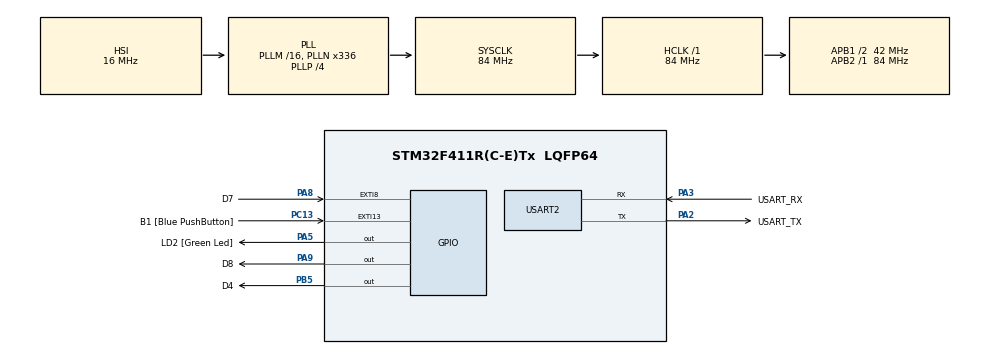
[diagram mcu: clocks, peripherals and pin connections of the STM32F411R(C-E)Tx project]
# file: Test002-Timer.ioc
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Mcu.Family=STM32F4
Mcu.Name=STM32F411R(C-E)Tx
Mcu.Package=LQFP64
NVIC.EXTI15_10_IRQn=true\:0\:0\:false\:false\:true\:true\:true\:true
NVIC.EXTI9_5_IRQn=true\:0\:0\:false\:false\:true\:true\:true\:true
NVIC.PriorityGroup=NVIC_PRIORITYGROUP_0
NVIC.TIM2_IRQn=true\:0\:0\:false\:false\:true\:true\:true\:true
NVIC.TIM3_IRQn=true\:0\:0\:false\:false\:true\:true\:true\:true
PA13.GPIO_Label=TMS
PA13.Mode=Serial_Wire
PA13.Signal=SYS_JTMS-SWDIO
PA14.GPIO_Label=TCK
PA14.Mode=Serial_Wire
PA14.Signal=SYS_JTCK-SWCLK
PA2.GPIO_Label=USART_TX
PA2.Mode=Asynchronous
PA2.Signal=USART2_TX
PA3.GPIO_Label=USART_RX
PA3.Mode=Asynchronous
PA3.Signal=USART2_RX
PA5.GPIO_Label=LD2 [Green Led]
PA5.Signal=GPIO_Output
PA8.GPIO_Label=D7
PA8.Signal=GPXTI8
PA9.GPIO_Label=D8
PA9.Signal=GPIO_Output
PB3.GPIO_Label=SWO
PB3.Signal=SYS_JTDO-SWO
PB5.GPIO_Label=D4
PB5.Signal=GPIO_Output
PC13-ANTI_TAMP.GPIO_Label=B1 [Blue PushButton]
PC13-ANTI_TAMP.GPIO_ModeDefaultEXTI=GPIO_MODE_IT_FALLING
PC13-ANTI_TAMP.Signal=GPXTI13
PC14-OSC32_IN.Mode=LSE-External-Oscillator
PC14-OSC32_IN.Signal=RCC_OSC32_IN
PC15-OSC32_OUT.Mode=LSE-External-Oscillator
PC15-OSC32_OUT.Signal=RCC_OSC32_OUT
PH0\ -\ OSC_IN.Mode=HSE-External-Clock-Source
PH0\ -\ OSC_IN.Signal=RCC_OSC_IN
PH1\ -\ OSC_OUT.Mode=HSE-External-Clock-Source
PH1\ -\ OSC_OUT.Signal=RCC_OSC_OUT
ProjectManager.HeapSize=0x200
ProjectManager.StackSize=0x400
ProjectManager.TargetToolchain=STM32CubeIDE
RCC.48MHZClocksFreq_Value=84000000
RCC.AHBFreq_Value=84000000
RCC.APB1CLKDivider=RCC_HCLK_DIV2
RCC.APB1Freq_Value=42000000
RCC.APB1TimFreq_Value=84000000
RCC.APB2Freq_Value=84000000
RCC.APB2TimFreq_Value=84000000
RCC.CortexFreq_Value=84000000
RCC.FLatency-AdvancedSettings=FLASH_LATENCY_2
RCC.HCLKFreq_Value=84000000
RCC.HSE_VALUE=8000000
RCC.HSI_VALUE=16000000
RCC.PLLN=336
RCC.PLLP=RCC_PLLP_DIV4
RCC.SYSCLKFreq_VALUE=84000000
RCC.SYSCLKSource=RCC_SYSCLKSOURCE_PLLCLK
RCC.VCOOutputFreq_Value=336000000
TIM2.Period=10000-1
TIM2.Prescaler=8400-1
TIM3.Period=10000-1
TIM3.Prescaler=8400-1
USART2.VirtualMode=VM_ASYNC
VP_TIM2_VS_ClockSourceINT.Mode=Internal
VP_TIM3_VS_ClockSourceINT.Mode=Internal
board=NUCLEO-F411RE

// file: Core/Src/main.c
/* USER CODE BEGIN Header */
/**
  ******************************************************************************
  * @file           : main.c
  * @brief          : Main program body
  ******************************************************************************
  * @attention
  *
  * Copyright (c) 2024 STMicroelectronics.
  * All rights reserved.
  *
  * This software is licensed under terms that can be found in the LICENSE file
  * in the root directory of this software component.
  * If no LICENSE file comes with this software, it is provided AS-IS.
  *
  ******************************************************************************
  */
/* USER CODE END Header */
#include "main.h"

TIM_HandleTypeDef htim2;
TIM_HandleTypeDef htim3;

UART_HandleTypeDef huart2;

void SystemClock_Config(void);
static void MX_GPIO_Init(void);
static void MX_USART2_UART_Init(void);
static void MX_TIM3_Init(void);
static void MX_TIM2_Init(void);

/* USER CODE BEGIN 0 */

void HAL_TIM_PeriodElapsedCallback(TIM_HandleTypeDef *htim)
{
	if(htim == &htim3)
	{
		HAL_GPIO_TogglePin(LD2_GPIO_Port,LD2_Pin);
	}
	else if(htim == &htim2)
	{
		HAL_GPIO_TogglePin(D4_GPIO_Port,D4_Pin);
	}
}

void HAL_GPIO_EXTI_Callback(uint16_t GPIO_Pin)//ISR
{
	switch(GPIO_Pin)
	{
		case D7_Pin:
			htim3.Instance->ARR=(htim3.Instance->ARR<1000)?10000:(htim3.Instance->ARR-1000);
			break;
		case D8_Pin:
			htim3.Instance->ARR=(htim3.Instance->ARR>10000)?1000:(htim3.Instance->ARR+1000);
			break;

	}
}

/* USER CODE END 0 */

int main(void)
{

  /* MCU Configuration--------------------------------------------------------*/

  /* Reset of all peripherals, Initializes the Flash interface and the Systick. */
  HAL_Init();

  /* Configure the system clock */
  SystemClock_Config();

  /* Initialize all configured peripherals */
  MX_GPIO_Init();
  MX_USART2_UART_Init();
  MX_TIM3_Init();
  MX_TIM2_Init();
  /* USER CODE BEGIN 2 */
  HAL_TIM_Base_Start_IT(&htim3);
  HAL_TIM_Base_Start_IT(&htim2);
  /* USER CODE END 2 */

  /* Infinite loop */
  while (1)
  {

    /* USER CODE BEGIN 3 */
	  /*
	  for(int i=1;i<20;i++)
	  {
		  htim3.Instance->ARR = i*450;
		  HAL_Delay(500);
	  }
	  */
  }
  /* USER CODE END 3 */
}

void SystemClock_Config(void)
{
  RCC_OscInitTypeDef RCC_OscInitStruct = {0};
  RCC_ClkInitTypeDef RCC_ClkInitStruct = {0};

  /** Configure the main internal regulator output voltage
  */
  __HAL_RCC_PWR_CLK_ENABLE();
  __HAL_PWR_VOLTAGESCALING_CONFIG(PWR_REGULATOR_VOLTAGE_SCALE1);

  /** Initializes the RCC Oscillators according to the specified parameters
  * in the RCC_OscInitTypeDef structure.
  */
  RCC_OscInitStruct.OscillatorType = RCC_OSCILLATORTYPE_HSI;
  RCC_OscInitStruct.HSIState = RCC_HSI_ON;
  RCC_OscInitStruct.HSICalibrationValue = RCC_HSICALIBRATION_DEFAULT;
  RCC_OscInitStruct.PLL.PLLState = RCC_PLL_ON;
  RCC_OscInitStruct.PLL.PLLSource = RCC_PLLSOURCE_HSI;
  RCC_OscInitStruct.PLL.PLLM = 16;
  RCC_OscInitStruct.PLL.PLLN = 336;
  RCC_OscInitStruct.PLL.PLLP = RCC_PLLP_DIV4;
  RCC_OscInitStruct.PLL.PLLQ = 4;
  if (HAL_RCC_OscConfig(&RCC_OscInitStruct) != HAL_OK)
  {
    Error_Handler();
  }

  /** Initializes the CPU, AHB and APB buses clocks
  */
  RCC_ClkInitStruct.ClockType = RCC_CLOCKTYPE_HCLK|RCC_CLOCKTYPE_SYSCLK
                              |RCC_CLOCKTYPE_PCLK1|RCC_CLOCKTYPE_PCLK2;
  RCC_ClkInitStruct.SYSCLKSource = RCC_SYSCLKSOURCE_PLLCLK;
  RCC_ClkInitStruct.AHBCLKDivider = RCC_SYSCLK_DIV1;
  RCC_ClkInitStruct.APB1CLKDivider = RCC_HCLK_DIV2;
  RCC_ClkInitStruct.APB2CLKDivider = RCC_HCLK_DIV1;

  if (HAL_RCC_ClockConfig(&RCC_ClkInitStruct, FLASH_LATENCY_2) != HAL_OK)
  {
    Error_Handler();
  }
}

static void MX_TIM2_Init(void)
{

  TIM_ClockConfigTypeDef sClockSourceConfig = {0};
  TIM_MasterConfigTypeDef sMasterConfig = {0};

  htim2.Instance = TIM2;
  htim2.Init.Prescaler = 8400-1;
  htim2.Init.CounterMode = TIM_COUNTERMODE_UP;
  htim2.Init.Period = 10000-1;
  htim2.Init.ClockDivision = TIM_CLOCKDIVISION_DIV1;
  htim2.Init.AutoReloadPreload = TIM_AUTORELOAD_PRELOAD_DISABLE;
  if (HAL_TIM_Base_Init(&htim2) != HAL_OK)
  {
    Error_Handler();
  }
  sClockSourceConfig.ClockSource = TIM_CLOCKSOURCE_INTERNAL;
  if (HAL_TIM_ConfigClockSource(&htim2, &sClockSourceConfig) != HAL_OK)
  {
    Error_Handler();
  }
  sMasterConfig.MasterOutputTrigger = TIM_TRGO_RESET;
  sMasterConfig.MasterSlaveMode = TIM_MASTERSLAVEMODE_DISABLE;
  if (HAL_TIMEx_MasterConfigSynchronization(&htim2, &sMasterConfig) != HAL_OK)
  {
    Error_Handler();
  }

}

static void MX_TIM3_Init(void)
{

  TIM_ClockConfigTypeDef sClockSourceConfig = {0};
  TIM_MasterConfigTypeDef sMasterConfig = {0};

  htim3.Instance = TIM3;
  htim3.Init.Prescaler = 8400-1;
  htim3.Init.CounterMode = TIM_COUNTERMODE_UP;
  htim3.Init.Period = 5000-1;
  htim3.Init.ClockDivision = TIM_CLOCKDIVISION_DIV1;
  htim3.Init.AutoReloadPreload = TIM_AUTORELOAD_PRELOAD_DISABLE;
  if (HAL_TIM_Base_Init(&htim3) != HAL_OK)
  {
    Error_Handler();
  }
  sClockSourceConfig.ClockSource = TIM_CLOCKSOURCE_INTERNAL;
  if (HAL_TIM_ConfigClockSource(&htim3, &sClockSourceConfig) != HAL_OK)
  {
    Error_Handler();
  }
  sMasterConfig.MasterOutputTrigger = TIM_TRGO_RESET;
  sMasterConfig.MasterSlaveMode = TIM_MASTERSLAVEMODE_DISABLE;
  if (HAL_TIMEx_MasterConfigSynchronization(&htim3, &sMasterConfig) != HAL_OK)
  {
    Error_Handler();
  }

}

static void MX_USART2_UART_Init(void)
{

  huart2.Instance = USART2;
  huart2.Init.BaudRate = 115200;
  huart2.Init.WordLength = UART_WORDLENGTH_8B;
  huart2.Init.StopBits = UART_STOPBITS_1;
  huart2.Init.Parity = UART_PARITY_NONE;
  huart2.Init.Mode = UART_MODE_TX_RX;
  huart2.Init.HwFlowCtl = UART_HWCONTROL_NONE;
  huart2.Init.OverSampling = UART_OVERSAMPLING_16;
  if (HAL_UART_Init(&huart2) != HAL_OK)
  {
    Error_Handler();
  }

}

static void MX_GPIO_Init(void)
{
  GPIO_InitTypeDef GPIO_InitStruct = {0};

  /* GPIO Ports Clock Enable */
  __HAL_RCC_GPIOC_CLK_ENABLE();
  __HAL_RCC_GPIOH_CLK_ENABLE();
  __HAL_RCC_GPIOA_CLK_ENABLE();
  __HAL_RCC_GPIOB_CLK_ENABLE();

  /*Configure GPIO pin Output Level */
  HAL_GPIO_WritePin(GPIOA, LD2_Pin|D8_Pin, GPIO_PIN_RESET);

  /*Configure GPIO pin Output Level */
  HAL_GPIO_WritePin(D4_GPIO_Port, D4_Pin, GPIO_PIN_RESET);

  /*Configure GPIO pin : B1_Pin */
  GPIO_InitStruct.Pin = B1_Pin;
  GPIO_InitStruct.Mode = GPIO_MODE_IT_FALLING;
  GPIO_InitStruct.Pull = GPIO_NOPULL;
  HAL_GPIO_Init(B1_GPIO_Port, &GPIO_InitStruct);

  /*Configure GPIO pins : LD2_Pin D8_Pin */
  GPIO_InitStruct.Pin = LD2_Pin|D8_Pin;
  GPIO_InitStruct.Mode = GPIO_MODE_OUTPUT_PP;
  GPIO_InitStruct.Pull = GPIO_NOPULL;
  GPIO_InitStruct.Speed = GPIO_SPEED_FREQ_LOW;
  HAL_GPIO_Init(GPIOA, &GPIO_InitStruct);

  /*Configure GPIO pin : D7_Pin */
  GPIO_InitStruct.Pin = D7_Pin;
  GPIO_InitStruct.Mode = GPIO_MODE_IT_RISING;
  GPIO_InitStruct.Pull = GPIO_NOPULL;
  HAL_GPIO_Init(D7_GPIO_Port, &GPIO_InitStruct);

  /*Configure GPIO pin : D4_Pin */
  GPIO_InitStruct.Pin = D4_Pin;
  GPIO_InitStruct.Mode = GPIO_MODE_OUTPUT_PP;
  GPIO_InitStruct.Pull = GPIO_NOPULL;
  GPIO_InitStruct.Speed = GPIO_SPEED_FREQ_LOW;
  HAL_GPIO_Init(D4_GPIO_Port, &GPIO_InitStruct);

  /* EXTI interrupt init*/
  HAL_NVIC_SetPriority(EXTI9_5_IRQn, 0, 0);
  HAL_NVIC_EnableIRQ(EXTI9_5_IRQn);

  HAL_NVIC_SetPriority(EXTI15_10_IRQn, 0, 0);
  HAL_NVIC_EnableIRQ(EXTI15_10_IRQn);

}

void Error_Handler(void)
{
  __disable_irq();
  while (1)
  {
  }
}
